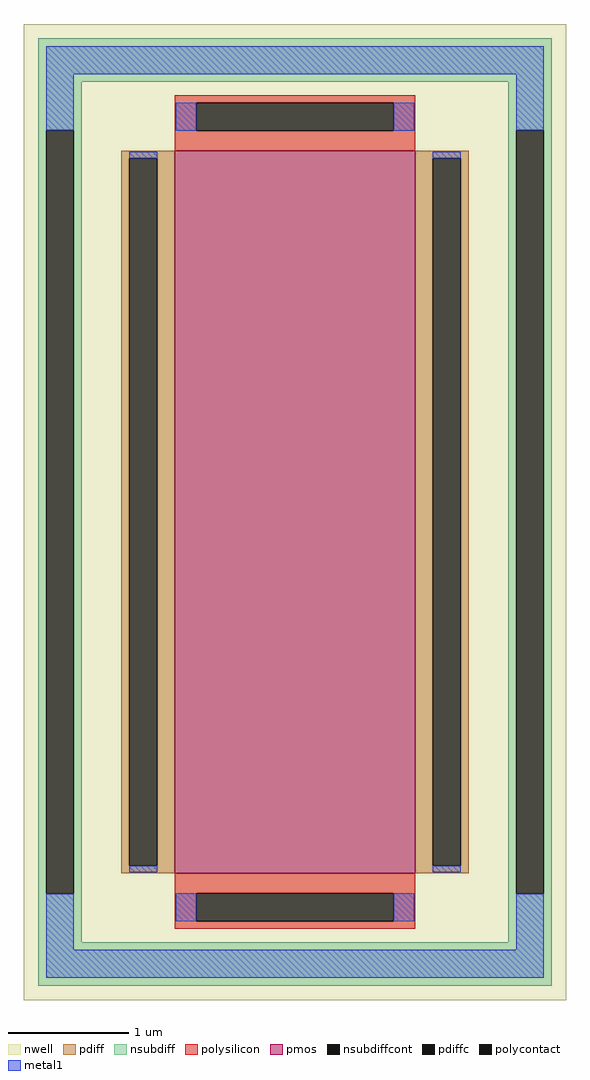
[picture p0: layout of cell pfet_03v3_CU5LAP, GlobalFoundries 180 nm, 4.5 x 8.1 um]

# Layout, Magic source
magic
tech gf180mcuD
magscale 1 10
<< nwell >>
rect -450 -810 450 810
<< pmos >>
rect -200 -600 200 600
<< pdiff >>
rect -288 587 -200 600
rect -288 -587 -275 587
rect -229 -587 -200 587
rect -288 -600 -200 -587
rect 200 587 288 600
rect 200 -587 229 587
rect 275 -587 288 587
rect 200 -600 288 -587
<< pdiffc >>
rect -275 -587 -229 587
rect 229 -587 275 587
<< nsubdiff >>
rect -426 714 426 786
rect -426 634 -354 714
rect -426 -634 -413 634
rect -367 -634 -354 634
rect 354 634 426 714
rect -426 -714 -354 -634
rect 354 -634 367 634
rect 413 -634 426 634
rect 354 -714 426 -634
rect -426 -786 426 -714
<< nsubdiffcont >>
rect -413 -634 -367 634
rect 367 -634 413 634
<< polysilicon >>
rect -200 679 200 692
rect -200 633 -164 679
rect 164 633 200 679
rect -200 600 200 633
rect -200 -633 200 -600
rect -200 -679 -164 -633
rect 164 -679 200 -633
rect -200 -692 200 -679
<< polycontact >>
rect -164 633 164 679
rect -164 -679 164 -633
<< metal1 >>
rect -413 727 413 773
rect -413 634 -367 727
rect -198 633 -164 679
rect 164 633 198 679
rect 367 634 413 727
rect -275 587 -229 598
rect -275 -598 -229 -587
rect 229 587 275 598
rect 229 -598 275 -587
rect -413 -727 -367 -634
rect -198 -679 -164 -633
rect 164 -679 198 -633
rect 367 -727 413 -634
rect -413 -773 413 -727
<< properties >>
string FIXED_BBOX -390 -750 390 750
<< end >>
